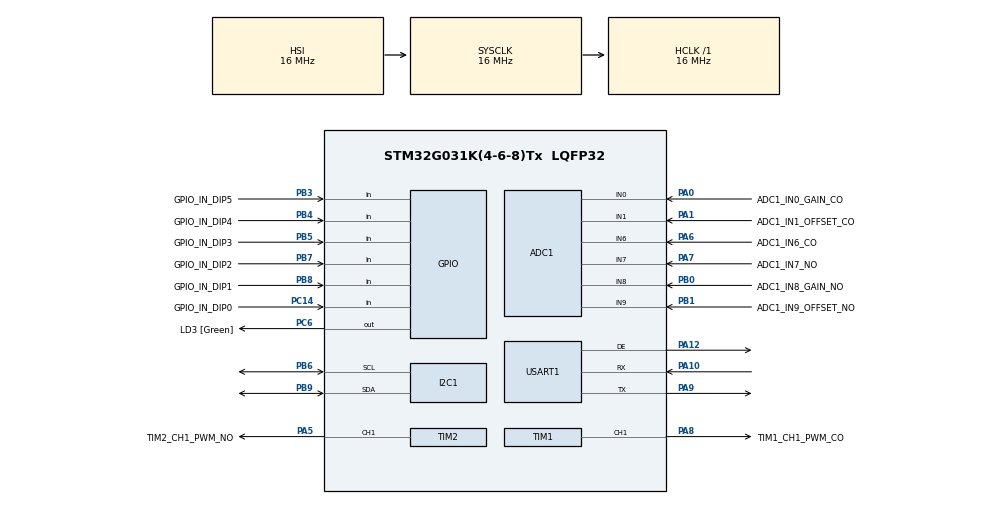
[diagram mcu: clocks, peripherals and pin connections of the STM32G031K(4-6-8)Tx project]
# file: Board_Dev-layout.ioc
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ADC1.Channel-1\#ChannelRegularConversion=ADC_CHANNEL_6
ADC1.Channel-2\#ChannelRegularConversion=ADC_CHANNEL_7
ADC1.Channel-3\#ChannelRegularConversion=ADC_CHANNEL_0
ADC1.Channel-4\#ChannelRegularConversion=ADC_CHANNEL_1
ADC1.Channel-5\#ChannelRegularConversion=ADC_CHANNEL_8
ADC1.Channel-6\#ChannelRegularConversion=ADC_CHANNEL_9
ADC1.Channel-8\#ChannelRegularConversion=ADC_CHANNEL_TEMPSENSOR
ADC1.ContinuousConvMode=ENABLE
ADC1.DMAContinuousRequests=DISABLE
ADC1.EOCSelection=ADC_EOC_SEQ_CONV
ADC1.EnableAnalogWatchDog1=false
ADC1.ExternalTrigConv=ADC_SOFTWARE_START
ADC1.NbrOfConversion=7
ADC1.NbrOfConversionFlag=1
ADC1.Overrun=ADC_OVR_DATA_PRESERVED
ADC1.Rank-1\#ChannelRegularConversion=1
ADC1.Rank-2\#ChannelRegularConversion=2
ADC1.Rank-3\#ChannelRegularConversion=3
ADC1.Rank-4\#ChannelRegularConversion=4
ADC1.Rank-5\#ChannelRegularConversion=5
ADC1.Rank-6\#ChannelRegularConversion=6
ADC1.Rank-8\#ChannelRegularConversion=7
ADC1.SamplingTime-1\#ChannelRegularConversion=ADC_SAMPLINGTIME_COMMON_1
ADC1.SamplingTime-2\#ChannelRegularConversion=ADC_SAMPLINGTIME_COMMON_1
ADC1.SamplingTime-3\#ChannelRegularConversion=ADC_SAMPLINGTIME_COMMON_1
ADC1.SamplingTime-4\#ChannelRegularConversion=ADC_SAMPLINGTIME_COMMON_1
ADC1.SamplingTime-5\#ChannelRegularConversion=ADC_SAMPLINGTIME_COMMON_1
ADC1.SamplingTime-6\#ChannelRegularConversion=ADC_SAMPLINGTIME_COMMON_1
ADC1.SamplingTime-8\#ChannelRegularConversion=ADC_SAMPLINGTIME_COMMON_1
ADC1.SamplingTimeCommon1=ADC_SAMPLETIME_160CYCLES_5
ADC1.SamplingTimeCommon2=ADC_SAMPLETIME_160CYCLES_5
ADC1.SelectedChannel=ADC_CHANNEL_0|ADC_CHANNEL_1|ADC_CHANNEL_6|ADC_CHANNEL_7|ADC_CHANNEL_TEMPSENSOR|ADC_CHANNEL_8|ADC_CHANNEL_9
ADC1.master=1
Dma.ADC1.1.Direction=DMA_PERIPH_TO_MEMORY
Dma.ADC1.1.EventEnable=DISABLE
Dma.ADC1.1.Instance=DMA1_Channel1
Dma.ADC1.1.MemDataAlignment=DMA_MDATAALIGN_WORD
Dma.ADC1.1.MemInc=DMA_MINC_ENABLE
Dma.ADC1.1.Mode=DMA_NORMAL
Dma.ADC1.1.PeriphDataAlignment=DMA_PDATAALIGN_WORD
Dma.ADC1.1.PeriphInc=DMA_PINC_DISABLE
Dma.ADC1.1.Polarity=HAL_DMAMUX_REQ_GEN_RISING
Dma.ADC1.1.Priority=DMA_PRIORITY_LOW
Dma.ADC1.1.RequestNumber=1
Dma.ADC1.1.SignalID=NONE
Dma.ADC1.1.SyncEnable=DISABLE
Dma.ADC1.1.SyncPolarity=HAL_DMAMUX_SYNC_NO_EVENT
Dma.ADC1.1.SyncRequestNumber=1
Dma.ADC1.1.SyncSignalID=NONE
Dma.I2C1_RX.3.Direction=DMA_PERIPH_TO_MEMORY
Dma.I2C1_RX.3.EventEnable=DISABLE
Dma.I2C1_RX.3.Instance=DMA1_Channel4
Dma.I2C1_RX.3.MemDataAlignment=DMA_MDATAALIGN_WORD
Dma.I2C1_RX.3.MemInc=DMA_MINC_ENABLE
Dma.I2C1_RX.3.Mode=DMA_NORMAL
Dma.I2C1_RX.3.PeriphDataAlignment=DMA_PDATAALIGN_WORD
Dma.I2C1_RX.3.PeriphInc=DMA_PINC_DISABLE
Dma.I2C1_RX.3.Polarity=HAL_DMAMUX_REQ_GEN_RISING
Dma.I2C1_RX.3.Priority=DMA_PRIORITY_LOW
Dma.I2C1_RX.3.RequestNumber=1
Dma.I2C1_RX.3.SignalID=NONE
Dma.I2C1_RX.3.SyncEnable=DISABLE
Dma.I2C1_RX.3.SyncPolarity=HAL_DMAMUX_SYNC_NO_EVENT
Dma.I2C1_RX.3.SyncRequestNumber=1
Dma.I2C1_RX.3.SyncSignalID=NONE
Dma.Request0=TIM1_CH1
Dma.Request1=ADC1
Dma.Request2=TIM2_CH1
Dma.Request3=I2C1_RX
Dma.TIM1_CH1.0.Direction=DMA_MEMORY_TO_PERIPH
Dma.TIM1_CH1.0.EventEnable=DISABLE
Dma.TIM1_CH1.0.Instance=DMA1_Channel2
Dma.TIM1_CH1.0.MemDataAlignment=DMA_MDATAALIGN_HALFWORD
Dma.TIM1_CH1.0.MemInc=DMA_MINC_ENABLE
Dma.TIM1_CH1.0.Mode=DMA_NORMAL
Dma.TIM1_CH1.0.PeriphDataAlignment=DMA_PDATAALIGN_HALFWORD
Dma.TIM1_CH1.0.PeriphInc=DMA_PINC_DISABLE
Dma.TIM1_CH1.0.Polarity=HAL_DMAMUX_REQ_GEN_RISING
Dma.TIM1_CH1.0.Priority=DMA_PRIORITY_LOW
Dma.TIM1_CH1.0.RequestNumber=1
Dma.TIM1_CH1.0.SignalID=NONE
Dma.TIM1_CH1.0.SyncEnable=DISABLE
Dma.TIM1_CH1.0.SyncPolarity=HAL_DMAMUX_SYNC_NO_EVENT
Dma.TIM1_CH1.0.SyncRequestNumber=1
Dma.TIM1_CH1.0.SyncSignalID=NONE
Dma.TIM2_CH1.2.Direction=DMA_MEMORY_TO_PERIPH
Dma.TIM2_CH1.2.EventEnable=DISABLE
Dma.TIM2_CH1.2.Instance=DMA1_Channel3
Dma.TIM2_CH1.2.MemDataAlignment=DMA_MDATAALIGN_HALFWORD
Dma.TIM2_CH1.2.MemInc=DMA_MINC_ENABLE
Dma.TIM2_CH1.2.Mode=DMA_NORMAL
Dma.TIM2_CH1.2.PeriphDataAlignment=DMA_PDATAALIGN_HALFWORD
Dma.TIM2_CH1.2.PeriphInc=DMA_PINC_DISABLE
Dma.TIM2_CH1.2.Polarity=HAL_DMAMUX_REQ_GEN_RISING
Dma.TIM2_CH1.2.Priority=DMA_PRIORITY_LOW
Dma.TIM2_CH1.2.RequestNumber=1
Dma.TIM2_CH1.2.SignalID=NONE
Dma.TIM2_CH1.2.SyncEnable=DISABLE
Dma.TIM2_CH1.2.SyncPolarity=HAL_DMAMUX_SYNC_NO_EVENT
Dma.TIM2_CH1.2.SyncRequestNumber=1
Dma.TIM2_CH1.2.SyncSignalID=NONE
Mcu.Family=STM32G0
Mcu.Name=STM32G031K(4-6-8)Tx
Mcu.Package=LQFP32
NVIC.DMA1_Ch4_5_DMAMUX1_OVR_IRQn=true\:0\:0\:false\:false\:true\:false\:true\:true
NVIC.DMA1_Channel1_IRQn=true\:0\:0\:false\:false\:true\:false\:true\:true
NVIC.DMA1_Channel2_3_IRQn=true\:0\:0\:false\:false\:true\:false\:true\:true
NVIC.USART1_IRQn=true\:0\:0\:false\:false\:true\:true\:true\:true
PA0.GPIO_Label=ADC1_IN0_GAIN_CO
PA0.Mode=IN0
PA0.Signal=ADC1_IN0
PA1.GPIO_Label=ADC1_IN1_OFFSET_CO
PA1.Mode=IN1
PA1.Signal=ADC1_IN1
PA10.Mode=Asynchronous
PA10.Signal=USART1_RX
PA12\ [PA10].Mode=Hardware Flow Control (RS485)
PA12\ [PA10].Signal=USART1_DE
PA13.GPIO_Label=T_JTMS
PA13.Mode=Serial_Wire
PA13.Signal=SYS_SWDIO
PA14-BOOT0.GPIO_Label=T_JTCK
PA14-BOOT0.Mode=Serial_Wire
PA14-BOOT0.Signal=SYS_SWCLK
PA5.GPIO_Label=TIM2_CH1_PWM_NO
PA5.Signal=S_TIM2_CH1_ETR
PA6.GPIO_Label=ADC1_IN6_CO
PA6.Mode=IN6
PA6.Signal=ADC1_IN6
PA7.GPIO_Label=ADC1_IN7_NO
PA7.Mode=IN7
PA7.Signal=ADC1_IN7
PA8.GPIO_Label=TIM1_CH1_PWM_CO
PA8.Signal=S_TIM1_CH1
PA9.Mode=Asynchronous
PA9.Signal=USART1_TX
PB0.GPIO_Label=ADC1_IN8_GAIN_NO
PB0.Mode=IN8
PB0.Signal=ADC1_IN8
PB1.GPIO_Label=ADC1_IN9_OFFSET_NO
PB1.Mode=IN9
PB1.Signal=ADC1_IN9
PB3.GPIO_Label=GPIO_IN_DIP5
PB3.Signal=GPIO_Input
PB4.GPIO_Label=GPIO_IN_DIP4
PB4.Signal=GPIO_Input
PB5.GPIO_Label=GPIO_IN_DIP3
PB5.Signal=GPIO_Input
PB6.Mode=I2C
PB6.Signal=I2C1_SCL
PB7.GPIO_Label=GPIO_IN_DIP2
PB7.Signal=GPIO_Input
PB8.GPIO_Label=GPIO_IN_DIP1
PB8.Signal=GPIO_Input
PB9.Mode=I2C
PB9.Signal=I2C1_SDA
PC14-OSC32_IN\ (PC14).GPIO_Label=GPIO_IN_DIP0
PC14-OSC32_IN\ (PC14).Signal=GPIO_Input
PC6.GPIO_Label=LD3 [Green]
PC6.Signal=GPIO_Output
ProjectManager.HeapSize=0x200
ProjectManager.StackSize=0x400
ProjectManager.TargetToolchain=STM32CubeIDE
RCC.AHBFreq_Value=16000000
RCC.CortexFreq_Value=16000000
RCC.EXTERNAL_CLOCK_VALUE=12288000
RCC.HCLKFreq_Value=16000000
RCC.HSE_VALUE=8000000
RCC.HSI_VALUE=16000000
RCC.LSE_VALUE=32768
RCC.SYSCLKFreq_VALUE=16000000
RCC.VCOOutputFreq_Value=128000000
SH.S_TIM1_CH1.0=TIM1_CH1,PWM Generation1 CH1
SH.S_TIM2_CH1_ETR.0=TIM2_CH1,PWM Generation1 CH1
TIM1.Channel-PWM\ Generation1\ CH1=TIM_CHANNEL_1
TIM1.Period=256-1
TIM1.Prescaler=0
TIM2.Channel-PWM\ Generation1\ CH1=TIM_CHANNEL_1
TIM2.Period=256-1
USART1.VirtualMode-Asynchronous=VM_ASYNC
USART1.VirtualMode-Hardware\ Flow\ Control\ (RS485)=VM_ASYNC
VP_ADC1_TempSens_Input.Mode=IN-TempSens
VP_TIM1_VS_ClockSourceINT.Mode=Internal
VP_TIM2_VS_ClockSourceINT.Mode=Internal
board=custom

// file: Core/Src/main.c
/* USER CODE BEGIN Header */
/**
 ******************************************************************************
 * @file           : main.c
 * @brief          : Main program body
 ******************************************************************************
 * @attention
 *
 * Copyright (c) 2023 STMicroelectronics.
 * All rights reserved.
 *
 * This software is licensed under terms that can be found in the LICENSE file
 * in the root directory of this software component.
 * If no LICENSE file comes with this software, it is provided AS-IS.
 *
 ******************************************************************************
 */
/* USER CODE END Header */
#include "main.h"
#include "adc.h"
#include "dma.h"
#include "i2c.h"
#include "tim.h"
#include "usart.h"
#include "gpio.h"

/* USER CODE BEGIN Includes */
#include <stdio.h>
#include <stdbool.h>
#include "modbusSlave.h"

/* USER CODE END Includes */

/* USER CODE BEGIN PV */

//UART_HandleTypeDef huart1;

struct sensor {
	uint32_t *input;
	uint32_t *gain;
	uint32_t *offset;
	uint32_t output;
};

uint8_t SLAVEID = 0;

/* USER CODE END PV */

void SystemClock_Config(void);
/* USER CODE BEGIN PFP */

//static void MX_GPIO_Init(void);
//static void MX_USART1_UART_Init(void);

/* USER CODE END PFP */

/* USER CODE BEGIN 0 */

uint32_t value_adc_DMA[7]={0,0,0,0,0,0,0};  // #TODO restructure as struct instrad array
int32_t y = 0;
int32_t a = 1;
int32_t x = 1;
int32_t b = 0;

uint8_t RxData[256];
uint8_t TxData[256];

void HAL_UARTEx_RxEventCallback(UART_HandleTypeDef *huart, uint16_t Size)
{
	if (RxData[0] == SLAVEID)
	{
		switch (RxData[1]){
		case 0x03:
			readHoldingRegs();
			break;
		case 0x04:
			readInputRegs();
			break;
		case 0x01:
			readCoils();
			break;
		case 0x02:
			readInputs();
			break;
		case 0x06:
			writeSingleReg();
			break;
		case 0x10:
			writeHoldingRegs();
			break;
		case 0x05:
			writeSingleCoil();
			break;
		case 0x0F:
			writeMultiCoils();
			break;
		default:
			modbusException(ILLEGAL_FUNCTION);
			break;
		}
	}

	HAL_UARTEx_ReceiveToIdle_IT(&huart1, RxData, 256);
}

/* USER CODE END 0 */

int main(void)
{

  /* MCU Configuration--------------------------------------------------------*/

  /* Reset of all peripherals, Initializes the Flash interface and the Systick. */
  HAL_Init();

  /* Configure the system clock */
  SystemClock_Config();

  /* Initialize all configured peripherals */
  MX_GPIO_Init();
  MX_DMA_Init();
  MX_ADC1_Init();
  MX_TIM1_Init();
  MX_USART1_UART_Init();
  MX_TIM2_Init();
  MX_I2C1_Init();
  /* USER CODE BEGIN 2 */

	char port0 = HAL_GPIO_ReadPin(GPIO_IN_DIP0_GPIO_Port, GPIO_IN_DIP0_Pin);
	char port1 = HAL_GPIO_ReadPin(GPIO_IN_DIP1_GPIO_Port, GPIO_IN_DIP1_Pin);
	char port2 = HAL_GPIO_ReadPin(GPIO_IN_DIP2_GPIO_Port, GPIO_IN_DIP2_Pin);
	char port3 = HAL_GPIO_ReadPin(GPIO_IN_DIP3_GPIO_Port, GPIO_IN_DIP3_Pin);
	char port4 = HAL_GPIO_ReadPin(GPIO_IN_DIP4_GPIO_Port, GPIO_IN_DIP4_Pin);
	char port5 = HAL_GPIO_ReadPin(GPIO_IN_DIP5_GPIO_Port, GPIO_IN_DIP5_Pin);

	SLAVEID = (port0 << 5) | (port1 << 4) | (port2 << 3) | (port3 << 2) | (port4 << 1) |  port5 ;

  HAL_UARTEx_ReceiveToIdle_IT(&huart1, RxData, 256);

	struct sensor Co, No, Temp;

	Co.input = &value_adc_DMA[0];
	No.input = &value_adc_DMA[1];
	Co.gain = &value_adc_DMA[2];
	Co.offset = &value_adc_DMA[3];
	No.gain = &value_adc_DMA[4];
	No.offset = &value_adc_DMA[5];
	Temp.input = &value_adc_DMA[6];
	Temp.gain = 1; //#TODO get this value from internal saved reference value
	Temp.offset = 0;

	HAL_TIM_PWM_Start(&htim1, TIM_CHANNEL_1); //start output PWM 1 CO
	HAL_TIM_PWM_Start(&htim2, TIM_CHANNEL_1); //start output PWM 2 NO
	TIM1->CCR1 =1;
	TIM1->CCR2 =1;
	HAL_ADC_Start_DMA(&hadc1, value_adc_DMA, 7); //aquire date from all ADC

  /* USER CODE END 2 */

  /* Infinite loop */
	while (1)
	{

    /* USER CODE BEGIN 3 */

		HAL_ADC_Start_DMA(&hadc1, value_adc_DMA, 7); //this step takes ca 50uS #TODO perhaps export to internal timer callback (trigger)

		x= TIM1->ARR* *Co.input/4095;
		a= *Co.gain*(Input_Registers_Database[13]-Input_Registers_Database[11])/4095+Input_Registers_Database[11]; // initial pitch between 20 and 180 [in percent]
		b= *Co.offset*(Input_Registers_Database[16]-Input_Registers_Database[14])/4095 + Input_Registers_Database[14]; //results between -409 and +409
		y=a*x*0.01+b*0.1;
		if (y<0) {y=0;}
		if (y>TIM1->ARR) {y=TIM1->ARR;}

		TIM1->CCR1 =y ;

		x= (TIM2->ARR* *No.input)/4095;
		a= *No.gain*(Input_Registers_Database[23]-Input_Registers_Database[21])/4095+Input_Registers_Database[21];
		b= *No.offset*(Input_Registers_Database[26]-Input_Registers_Database[24])/4095 + Input_Registers_Database[24];
		y=a*x*0.01+b*0.1;
		if (y<0) {y=0;}
		if (y>TIM2->ARR) {y=TIM2->ARR;}

		TIM2->CCR1 = y;

		Input_Registers_Database[10]=*Co.input;
		Input_Registers_Database[12]=*Co.gain;
		Input_Registers_Database[15]=*Co.offset;
		Input_Registers_Database[17]=TIM1->CCR1;

		Input_Registers_Database[20]=*Co.input;
		Input_Registers_Database[22]=*Co.gain;
		Input_Registers_Database[25]=*Co.offset;
		Input_Registers_Database[27]=TIM2->CCR1;

		//Input_Registers_Database[37]=Temp;

		HAL_GPIO_TogglePin(GPIOC, GPIO_PIN_6); //toggle LED to measure cycle time
	}
  /* USER CODE END 3 */
}

void SystemClock_Config(void)
{
  RCC_OscInitTypeDef RCC_OscInitStruct = {0};
  RCC_ClkInitTypeDef RCC_ClkInitStruct = {0};

  /** Configure the main internal regulator output voltage
  */
  HAL_PWREx_ControlVoltageScaling(PWR_REGULATOR_VOLTAGE_SCALE1);

  /** Initializes the RCC Oscillators according to the specified parameters
  * in the RCC_OscInitTypeDef structure.
  */
  RCC_OscInitStruct.OscillatorType = RCC_OSCILLATORTYPE_HSI;
  RCC_OscInitStruct.HSIState = RCC_HSI_ON;
  RCC_OscInitStruct.HSIDiv = RCC_HSI_DIV1;
  RCC_OscInitStruct.HSICalibrationValue = RCC_HSICALIBRATION_DEFAULT;
  RCC_OscInitStruct.PLL.PLLState = RCC_PLL_NONE;
  if (HAL_RCC_OscConfig(&RCC_OscInitStruct) != HAL_OK)
  {
    Error_Handler();
  }

  /** Initializes the CPU, AHB and APB buses clocks
  */
  RCC_ClkInitStruct.ClockType = RCC_CLOCKTYPE_HCLK|RCC_CLOCKTYPE_SYSCLK
                              |RCC_CLOCKTYPE_PCLK1;
  RCC_ClkInitStruct.SYSCLKSource = RCC_SYSCLKSOURCE_HSI;
  RCC_ClkInitStruct.AHBCLKDivider = RCC_SYSCLK_DIV1;
  RCC_ClkInitStruct.APB1CLKDivider = RCC_HCLK_DIV1;

  if (HAL_RCC_ClockConfig(&RCC_ClkInitStruct, FLASH_LATENCY_0) != HAL_OK)
  {
    Error_Handler();
  }
}

void Error_Handler(void)
{
	__disable_irq();
	while (1)
	{
	}
}
